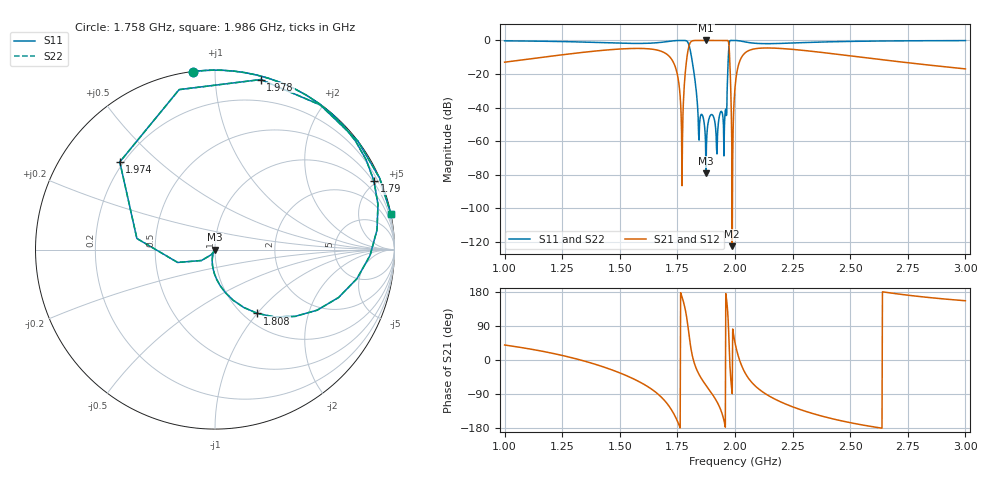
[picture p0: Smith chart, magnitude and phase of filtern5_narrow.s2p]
! Created Tue Nov 18 17:59:16 2014
# hz S ma R 50
! 2 Port Network Data from SP1.SP block
! freq  magS11  angS11  magS21  angS21  magS12  angS12  magS22  angS22
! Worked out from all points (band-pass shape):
!   1001 points, 1 GHz to 3 GHz, reference 50 ohm
!   highest |S21| = 0.00 dB at 1.874 GHz (marker M1); lowest = -122.7 dB at 1.988 GHz (marker M2)
!   |S21| within 3 dB of the highest: 1.801 GHz to 1.974 GHz (172.9 MHz wide, 9.16 % of centre)
!   lowest |S11| = -79.2 dB at 1.874 GHz (marker M3), VSWR 1.00, Z = 50 + j0.00433 ohm
!   |S11| at or under -10 dB: 1.811 GHz to 1.971 GHz (159.6 MHz wide, 8.44 % of centre)
!   |S22| runs from -79.2 to 0.0 dB; largest |S21 - S12| = 1e-15
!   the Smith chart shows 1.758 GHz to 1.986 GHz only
!   S11 on the Smith chart (normalised r, x): 1.758 GHz: 0.00, +0.88; 1.79 GHz: 0.43, +4.79; 1.808 GHz: 1.15, -1.00; 1.974 GHz: 0.19, +0.38; 1.978 GHz: 0.03, +1.30; 1.986 GHz: 0.00, +9.86
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1e9  0.9744 -50.4  0.2249 39.6  0.2249 39.6  0.9744 -50.4
1.334e9  0.8994 -90.7  0.4371 -0.7  0.4371 -0.7  0.8994 -90.7
1.668e9  0.8631 178.9  0.505 -91.1  0.505 -91.1  0.8631 178.9
1.732e9  0.974 130.6  0.2267 -139.4  0.2267 -139.4  0.974 130.6
1.758e9  0.9991 97.1  0.04244 -172.9  0.04244 -172.9  0.9991 97.1
1.772e9  1 72.6  0.001092 162.6  0.001092 162.6  1 72.6
1.79e9  0.9647 23.4  0.2633 113.4  0.2633 113.4  0.9647 23.4
1.808e9  0.427 -56.4  0.9042 33.6  0.9042 33.6  0.427 -56.4
1.842e9  0.001606 -125.8  1 -35.8  1 -35.8  0.001606 -125.8
1.874e9  0.0001102 23.1  1 -66.9  1 -66.9  0.0001102 23.1
1.926e9  0.002473 -25.1  1 -115.1  1 -115.1  0.002473 -25.1
1.954e9  0.002563 105.4  1 -164.6  1 -164.6  0.002563 105.4
1.974e9  0.721 137.4  0.6929 47.4  0.6929 47.4  0.721 137.4
1.978e9  0.9812 74.9  0.1931 -15.1  0.1931 -15.1  0.9812 74.9
1.986e9  1 11.6  0.0008224 -78.4  0.0008224 -78.4  1 11.6
1.988e9  1 1.1  7.316e-07 -88.9  7.316e-07 -88.9  1 1.1
2e9  0.9992 -44.4  0.03897 45.6  0.03897 45.6  0.9992 -44.4
2.022e9  0.9668 -94.2  0.2554 -4.2  0.2554 -4.2  0.9668 -94.2
2.074e9  0.8409 -149.9  0.5412 -59.9  0.5412 -59.9  0.8409 -149.9
2.334e9  0.8803 129.3  0.4744 -140.7  0.4744 -140.7  0.8803 129.3
2.668e9  0.9678 87.5  0.2519 177.5  0.2519 177.5  0.9678 87.5
3e9  0.9899 66.3  0.142 156.3  0.142 156.3  0.9899 66.3
